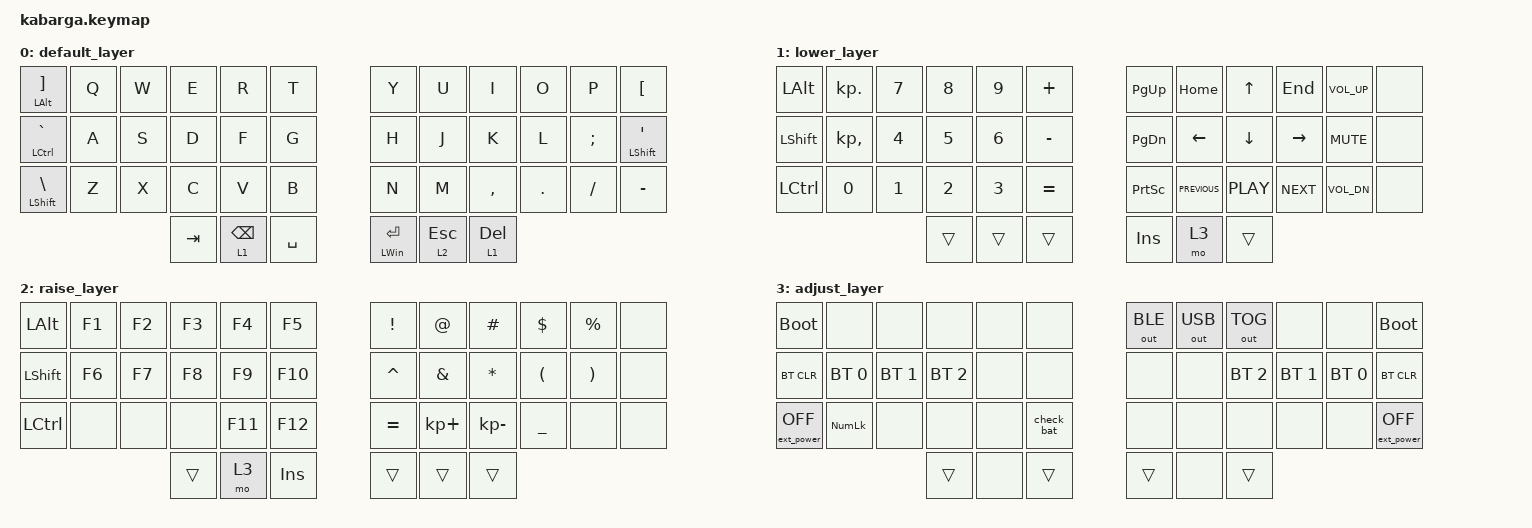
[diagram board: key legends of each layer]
/*
 * Copyright (c) 2020 The ZMK Contributors
 *
 * SPDX-License-Identifier: MIT
 */

#include <behaviors.dtsi>
#include <dt-bindings/zmk/bt.h>
#include <dt-bindings/zmk/ext_power.h>
#include <dt-bindings/zmk/keys.h>
#include <dt-bindings/zmk/outputs.h>

#define DEF 0
#define LWR 1
#define RSE 2
#define ADJ 3

&lt { quick_tap_ms = <150>; };

&mt { quick_tap_ms = <150>; };

/ {
    macros {
        numdot: numdot {
            label = "ZM_numdot";
            compatible = "zmk,behavior-macro";
            #binding-cells = <0>;
            wait-ms = <40>;
            tap-ms = <40>;
            bindings =
                <&macro_press>,
                <&kp LALT>,
                <&macro_tap>,
                <&kp KP_N4 &kp KP_N6>,
                <&macro_release>,
                <&kp LALT>;
        };

        grtsgn: grtsgn {
            label = "ZM_grtsgn";
            compatible = "zmk,behavior-macro";
            #binding-cells = <0>;
            wait-ms = <40>;
            tap-ms = <40>;
            bindings =
                <&macro_press>,
                <&kp LALT>,
                <&macro_tap>,
                <&kp KP_N6 &kp KP_N2>,
                <&macro_release>,
                <&kp LALT>;
        };
    };
};

/ {
    keymap {
        compatible = "zmk,keymap";

        default_layer {
            // ------------------------------------------------------------------------------------------------
            //| LGUI/] |  Q  |  W  |  E  |  R  |  T  |   |  Y  |  U   |  I  |  O  |  P  | RGUI/[ | 
            //| CTRL/` |  A  |  S  |  D  |  F  |  G  |   |  H  |  J   |  K  |  L  |  ;  | CTRL/' |
            //| LALT/\ |  Z  |  X  |  C  |  V  |  B  |   |  N  |  M   |  ,  |  .  |  /  | RALT/- |
            //                             | RSE | SPC | LWR |   | LWR | BKSP | RSE |

            bindings = <
&mt LEFT_ALT RBKT       &kp Q  &kp W  &kp E    &kp R            &kp T        &kp Y               &kp U         &kp I         &kp O    &kp P     &kp LEFT_BRACKET
&mt LEFT_CONTROL GRAVE  &kp A  &kp S  &kp D    &kp F            &kp G        &kp H               &kp J         &kp K         &kp L    &kp SEMI  &mt LEFT_SHIFT SQT
&mt LEFT_SHIFT BSLH     &kp Z  &kp X  &kp C    &kp V            &kp B        &kp N               &kp M         &kp COMMA     &kp DOT  &kp FSLH  &kp MINUS
                                      &kp TAB  &lt 1 BACKSPACE  &kp SPACE    &mt LEFT_WIN ENTER  &lt 2 ESCAPE  &lt 1 DELETE
            >;
        };

        lower_layer {
            // -----------------------------------------------------------------------------------------
            //|LGUI/CAPS |  *  |  7 |  8  |  9  |  +  |    |  !  |  @  |  #  |  $  |  %  | RGUI/F1 |
            //|CTRL/MENU |  /  |  4 |  5  |  6  |  -  |    |  ^  |  &  |  *  |  (  |  )  | CTRL/F2 |
            //|  LALT/=  |  0  |  1 |  4  |  3  |  .  |    |  ls |  F4 |  F5 |  F6 |  F7 | RALT/F3 |
            //                      | ADJ | ___ | ___ |    | ___ | ___ | ADJ |

            bindings = <
&kp LEFT_ALT      &kp KP_DOT    &kp N7  &kp N8  &kp N9  &kp PLUS     &kp PG_UP        &kp HOME        &kp UP_ARROW    &kp END          &kp C_VOLUME_UP  &none
&kp LEFT_SHIFT    &kp KP_COMMA  &kp N4  &kp N5  &kp N6  &kp MINUS    &kp PAGE_DOWN    &kp LEFT_ARROW  &kp DOWN_ARROW  &kp RIGHT_ARROW  &kp C_MUTE       &none
&kp LEFT_CONTROL  &kp N0        &kp N1  &kp N2  &kp N3  &kp EQUAL    &kp PRINTSCREEN  &kp C_PREVIOUS  &kp C_PLAY      &kp C_NEXT       &kp C_VOL_DN     &none
                                        &trans  &trans  &trans       &kp INSERT       &mo 3           &trans
            >;
        };

        raise_layer {
            // -----------------------------------------------------------------------------------------
            //| LGUI |  VOLU  |  PGUP  | PLAY | HOME | ___  |            | ___  | HOME | PLAY| PGUP | VOLU | RGUI |
            //| CTRL |  VOLD  |  LEFT  |  UP  | DOWN | RGHT |            | RGHT | DOWN | UP  | LEFT | VOLD | CTRL | 
            //| LALT |  MUTE  |  PGDN  |  ___ | END  | ___  |            | ___  | END  | ___ | PGDN | MUTE | RALT |
            //                          | ___ | ___  | ADJ  |            | ADJ  | ___  | ___ |

            bindings = <
&kp LEFT_ALT      &kp F1  &kp F2  &kp F3  &kp F4   &kp F5        &kp EXCLAMATION  &kp AT_SIGN    &kp HASH      &kp DOLLAR            &kp PERCENT            &none
&kp LEFT_SHIFT    &kp F6  &kp F7  &kp F8  &kp F9   &kp F10       &kp CARET        &kp AMPERSAND  &kp ASTERISK  &kp LEFT_PARENTHESIS  &kp RIGHT_PARENTHESIS  &none
&kp LEFT_CONTROL  &none   &none   &none   &kp F11  &kp F12       &kp EQUAL        &kp KP_PLUS    &kp KP_MINUS  &kp UNDER             &none                  &none
                                  &trans  &mo 3    &kp INSERT    &trans           &trans         &trans
            >;
        };

        adjust_layer {
            // -----------------------------------------------------------------------------------------
            //| BLDR |     |     |     |     |     |   |     |     |     |     |     | BLDR |
            //| BTCLR| BT0 | BT1 | BT2 | BT3 | BT4 |   | BT4 | BT3 | BT2 | BT1 | BT0 | BTCLR|
            //|pwrOFF|NUMLK|     |     |     |     |   |     |     |     |     |     |      |
            //                   |     |     |     |   |     |     |     |

            bindings = <
&bootloader        &none         &none         &none         &none  &none         &out OUT_BLE  &out OUT_USB  &out OUT_TOG  &none         &none         &bootloader
&bt BT_CLR         &bt BT_SEL 0  &bt BT_SEL 1  &bt BT_SEL 2  &none  &none         &none         &none         &bt BT_SEL 2  &bt BT_SEL 1  &bt BT_SEL 0  &bt BT_CLR
&ext_power EP_OFF  &kp KP_NUM    &none         &none         &none  &check_bat    &none         &none         &none         &none         &none         &ext_power EP_OFF
                                               &trans        &none  &trans        &trans        &none         &trans
            >;
        };
    };
};
